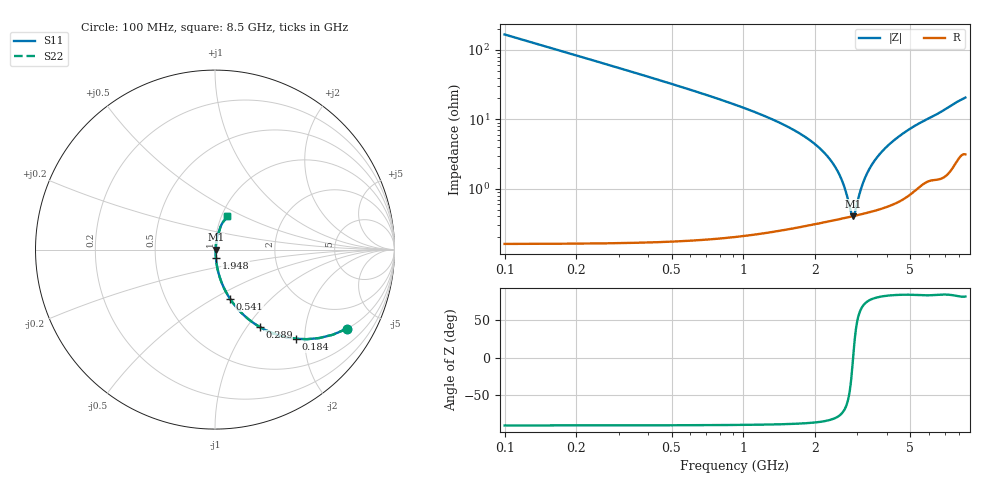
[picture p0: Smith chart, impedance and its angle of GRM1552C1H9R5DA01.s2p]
!Murata Part Number: GRM1552C1H9R5DA01
!These Parameters are Measured in Series Mode Connection
!Data Generated on Mar 30, 2021
!  o--ll--o
!Port1  Port2
!  o------o
!Operation Temp=25[degC], DC Bias Voltage=0[V]
!Freq. Start=100[MHz] Stop=9[GHz] 401[Steps]
# Hz S RI R 50
!Freq.(Hz) S11(Real) S11(Imag) S21(Real) S21(Imag) S12(Real) S12(Imag) S22(Real) S22(Imag)
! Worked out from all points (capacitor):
!   401 points, 100 MHz to 8.5 GHz, reference 50 ohm
!   read as one part in series: C = 9.5 pF near 142 MHz
!   lowest |Z| = 404 mohm at 2.872 GHz (marker M1)
!   series resonance near 2.879 GHz, so ESL is about 320 pH
!   S11 on the Smith chart (normalised r, x): 100 MHz: 1.00, -3.35; 184 MHz: 1.00, -1.81; 289 MHz: 1.00, -1.15; 541 MHz: 1.00, -0.60; 1.948 GHz: 1.01, -0.09; 8.5 GHz: 1.06, +0.41
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1e8  0.7366 -0.44  0.2634 0.44  0.2634 0.44  0.7366 -0.44
1.84e8  0.4513 -0.4967  0.5487 0.4967  0.5487 0.4967  0.4513 -0.4967
2.89e8  0.2483 -0.4306  0.7517 0.4306  0.7517 0.4306  0.2483 -0.4306
3.94e8  0.1493 -0.3543  0.8507 0.3543  0.8507 0.3543  0.1493 -0.3543
5.41e8  0.0832 -0.2733  0.9168 0.2733  0.9168 0.2733  0.0832 -0.2733
9.19e8  0.0279 -0.1588  0.9721 0.1588  0.9721 0.1588  0.0279 -0.1588
1.507e9  0.009 -0.0798  0.991 0.0798  0.991 0.0798  0.009 -0.0798
1.948e9  0.00519 -0.0464  0.9948 0.0464  0.9948 0.0464  0.00519 -0.0464
2.242e9  0.00421 -0.0294  0.9958 0.0294  0.9958 0.0294  0.00421 -0.0294
2.473e9  0.0039 -0.0178  0.9961 0.0178  0.9961 0.0178  0.0039 -0.0178
2.62e9  0.00386 -0.011  0.9961 0.011  0.9961 0.011  0.00386 -0.011
2.809e9  0.00395 -0.00289  0.9961 0.00289  0.9961 0.00289  0.00395 -0.00289
2.872e9  0.00401 -0.000297  0.996 0.000297  0.996 0.000297  0.00401 -0.000297
2.914e9  0.00406 0.0014  0.9959 -0.0014  0.9959 -0.0014  0.00406 0.0014
3.145e9  0.00442 0.0104  0.9956 -0.0104  0.9956 -0.0104  0.00442 0.0104
3.397e9  0.005 0.0196  0.995 -0.0196  0.995 -0.0196  0.005 0.0196
3.775e9  0.00619 0.0327  0.9938 -0.0327  0.9938 -0.0327  0.00619 0.0327
4.3e9  0.00855 0.0499  0.9914 -0.0499  0.9914 -0.0499  0.00855 0.0499
4.951e9  0.013 0.0702  0.987 -0.0702  0.987 -0.0702  0.013 0.0702
5.707e9  0.0204 0.0919  0.9796 -0.0919  0.9796 -0.0919  0.0204 0.0919
7.114e9  0.035 0.1369  0.965 -0.1369  0.965 -0.1369  0.035 0.1369
8.5e9  0.0669 0.1845  0.9331 -0.1845  0.9331 -0.1845  0.0669 0.1845
